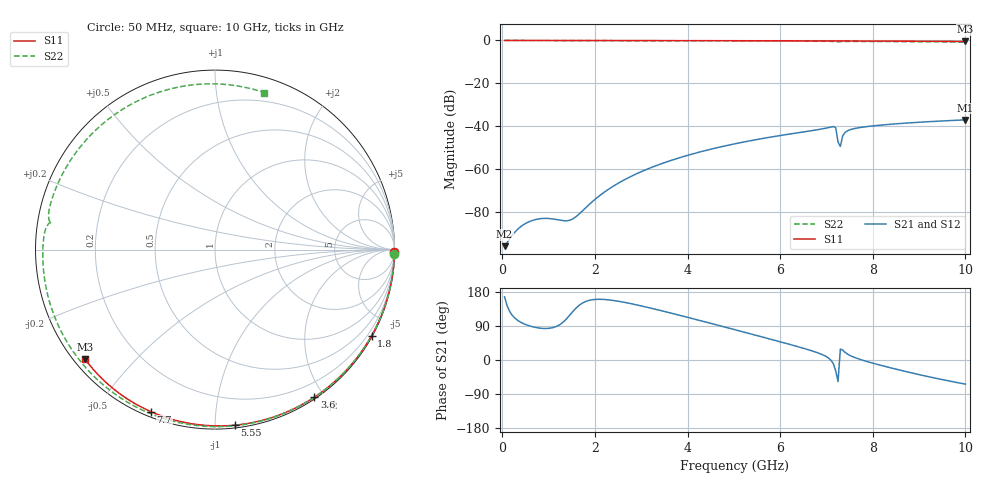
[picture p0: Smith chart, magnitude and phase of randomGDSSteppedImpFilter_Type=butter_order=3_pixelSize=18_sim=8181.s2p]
! freq	dB(S11)	phase(S11)	dB(S12)	phase(S12)
!  dB(S21)	phase(S21)	dB(S22)	phase(S22)
!S-par simulation data
#  GHz  S  DB  R 50
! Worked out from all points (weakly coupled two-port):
!   200 points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, 50 MHz to 10 GHz, reference 50 ohm
!   highest |S21| = -36.94 dB at 10 GHz (marker M1); lowest = -95.7 dB at 50 MHz (marker M2)
!   lowest |S11| = -0.5 dB at 10 GHz (marker M3), VSWR 36.83, Z = 1.54 - j18.3 ohm
!   |S11| at or under -10 dB: nowhere
!   |S22| runs from -0.8 to 0.0 dB; largest |S21 - S12| = 0
!   S11 on the Smith chart (normalised r, x): 50 MHz: open; 1.8 GHz: 0.03, -3.90; 3.6 GHz: 0.02, -1.88; 5.55 GHz: 0.02, -1.12; 7.7 GHz: 0.02, -0.68; 10 GHz: 0.03, -0.37
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0.05  -0.00 -0.8  -95.73 166.7  -95.73 166.7  -0.00 -1.4
0.85  -0.01 -13.7  -82.87 83.6  -82.87 83.6  -0.03 -23.7
1.7  -0.03 -27.2  -79.94 147.9  -79.94 147.9  -0.06 -46.8
1.75  -0.04 -28.0  -78.91 151.5  -78.91 151.5  -0.06 -48.2
1.8  -0.04 -28.7  -77.88 154.4  -77.88 154.4  -0.06 -49.5
2.15  -0.04 -34.2  -71.42 160.1  -71.42 160.1  -0.07 -58.8
2.5  -0.05 -39.6  -66.46 155.2  -66.46 155.2  -0.09 -67.9
3.4  -0.07 -53.2  -57.64 131.2  -57.64 131.2  -0.12 -90.9
3.6  -0.08 -56.1  -56.14 125.1  -56.14 125.1  -0.13 -95.9
4.3  -0.09 -66.3  -51.70 103.2  -51.70 103.2  -0.16 -113.3
5.05  -0.12 -76.8  -47.96 79.1  -47.96 79.1  -0.20 -131.7
5.55  -0.14 -83.7  -45.89 62.8  -45.89 62.8  -0.24 -144.2
6.7  -0.19 -98.9  -41.91 23.6  -41.91 23.6  -0.34 -174.3
7.2  -0.23 -105.4  -40.56 -28.8  -40.56 -28.8  -0.57 170.9
7.25  -0.24 -105.9  -47.30 -56.9  -47.30 -56.9  -0.71 170.7
7.3  -0.24 -106.5  -49.30 29.1  -49.30 29.1  -0.56 170.1
7.35  -0.24 -107.1  -44.43 26.2  -44.43 26.2  -0.47 168.5
7.4  -0.24 -107.8  -42.86 20.3  -42.86 20.3  -0.44 166.8
7.7  -0.26 -111.6  -40.60 2.6  -40.60 2.6  -0.45 157.4
8.35  -0.31 -119.7  -39.05 -19.6  -39.05 -19.6  -0.53 136.2
9.25  -0.39 -130.7  -37.75 -45.3  -37.75 -45.3  -0.65 103.3
10  -0.47 -139.8  -36.94 -63.6  -36.94 -63.6  -0.75 72.5
